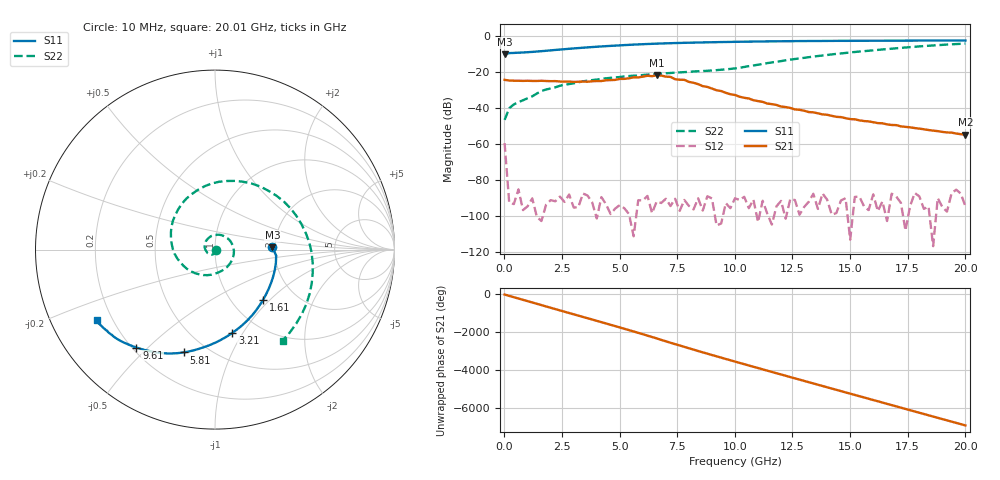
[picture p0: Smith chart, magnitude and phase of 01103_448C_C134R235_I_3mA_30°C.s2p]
!;Filter: kein Filter
!auto
!3/21/2019 9:27:07 AM
!3/21/2019 9:27:22 AM
!SP-Measurements Prober G4
!SP-Measurements Prober G4
!01103_448C
!134
!235
!12
!30
!-20
!0.00299959
!1.83
!0.38139174
!0.38139174
# Hz S  RI  R 50
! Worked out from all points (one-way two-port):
!   101 points, 10 MHz to 20.01 GHz, reference 50 ohm
!   highest |S21| = -21.66 dB at 6.61 GHz (marker M1); lowest = -54.6 dB at 20.01 GHz (marker M2)
!   lowest |S11| = -9.9 dB at 10 MHz (marker M3), VSWR 1.94, Z = 96.9 + j2.83 ohm
!   |S11| at or under -10 dB: nowhere
!   |S22| runs from -46.5 to -4.0 dB; largest |S21 - S12| = 0.083
!   S11 on the Smith chart (normalised r, x): 10 MHz: 1.94, +0.06; 1.61 GHz: 1.38, -0.91; 3.21 GHz: 0.75, -0.90; 5.81 GHz: 0.38, -0.67; 9.61 GHz: 0.22, -0.46; 20.01 GHz: 0.14, -0.27
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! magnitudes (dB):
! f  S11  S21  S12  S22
! 10 MHz  -9.9  -24.2  -59.4  -46.5
! 210 MHz  -9.3  -24.6  -92.6  -40.0
! 410 MHz  -9.2  -24.7  -93.4  -37.9
! 1.21 GHz  -8.6  -24.8  -90.2  -33.4
! 1.61 GHz  -8.2  -24.7  -102.8  -30.4
! 2.61 GHz  -7.1  -25.2  -92.2  -26.9
! 3.21 GHz  -6.5  -25.2  -95.1  -25.6
! 3.41 GHz  -6.3  -25.1  -87.5  -25.0
! 4.21 GHz  -5.6  -24.8  -89.5  -23.7
! 5.81 GHz  -4.5  -22.9  -91.2  -21.8
! 6.61 GHz  -4.0  -21.7  -91.9  -20.9
! 6.81 GHz  -3.9  -21.8  -92.8  -20.8
! 7.21 GHz  -3.8  -22.6  -94.5  -20.4
! 7.41 GHz  -3.7  -23.8  -90.4  -20.2
! 7.81 GHz  -3.6  -24.2  -91.1  -19.9
! 9.61 GHz  -3.1  -31.4  -92.8  -18.4
! 10.01 GHz  -3.0  -32.6  -90.1  -17.8
! 11.41 GHz  -2.8  -37.4  -98.6  -14.9
! 13.41 GHz  -2.6  -42.3  -87.6  -11.3
! 15.01 GHz  -2.5  -46.0  -113.2  -8.9
! 16.81 GHz  -2.4  -49.3  -87.6  -6.8
! 20.01 GHz  -2.3  -54.6  -94.6  -4.0
